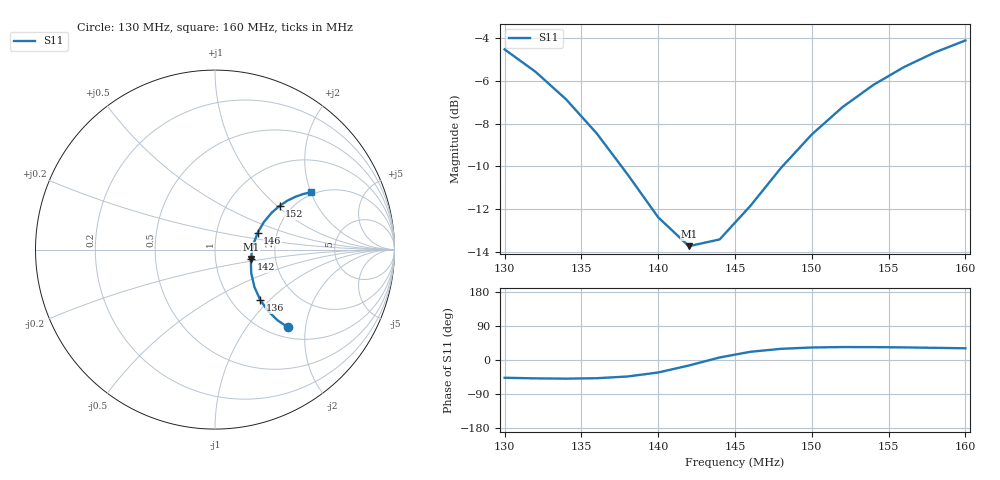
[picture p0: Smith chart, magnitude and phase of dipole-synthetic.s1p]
! Synthetic dipole feedpoint impedance, made up for the tests
# MHZ S RI R 50
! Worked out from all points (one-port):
!   16 points, 130 MHz to 160 MHz, reference 50 ohm
!   lowest |S11| = -13.7 dB at 142 MHz (marker M1), VSWR 1.52, Z = 74.4 - j8 ohm
!   |S11| at or under -10 dB: 137.6 MHz to 148.1 MHz (10.47 MHz wide, 7.33 % of centre)
!   S11 on the Smith chart (normalised r, x): 130 MHz: 1.20, -1.60; 136 MHz: 1.34, -0.88; 142 MHz: 1.49, -0.16; 146 MHz: 1.58, +0.32; 152 MHz: 1.73, +1.04; 160 MHz: 1.92, +2.00
130  0.4054 -0.4324
132  0.3487 -0.394
134  0.2964 -0.3432
136  0.2522 -0.2808
138  0.2197 -0.2088
140  0.2018 -0.1309
142  0.1995 -0.0515
144  0.2121 0.0249
146  0.2377 0.0944
148  0.273 0.1547
150  0.3148 0.2045
152  0.3599 0.244
154  0.4059 0.274
156  0.4509 0.2956
158  0.4937 0.3102
160  0.5338 0.3193
